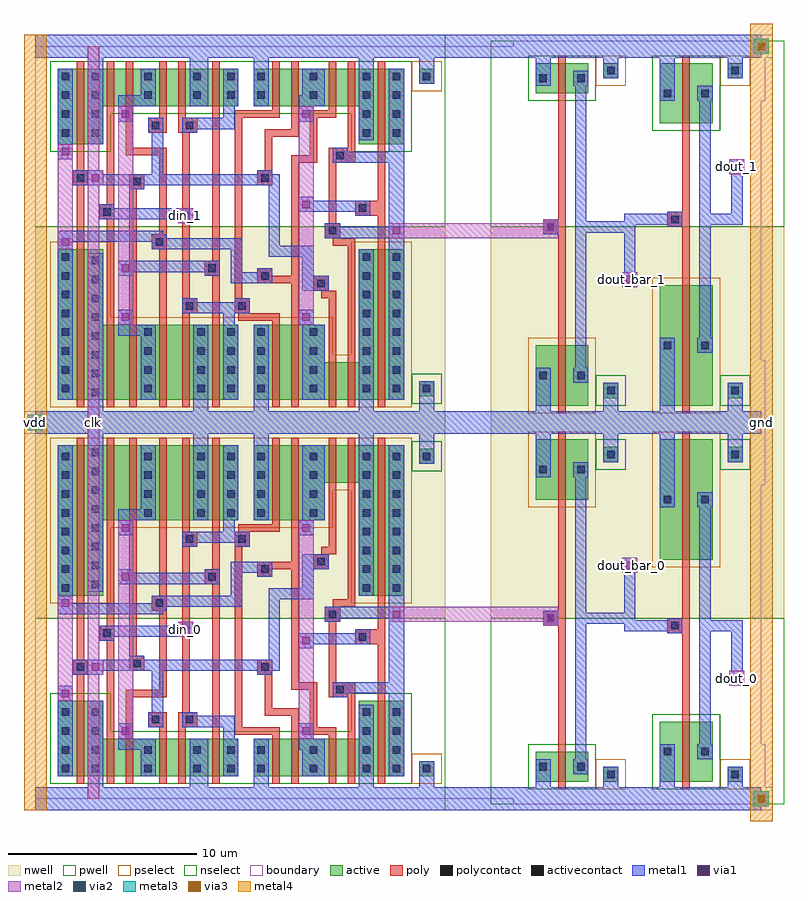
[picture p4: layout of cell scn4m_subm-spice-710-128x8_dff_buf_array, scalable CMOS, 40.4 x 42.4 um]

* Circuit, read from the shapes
.subckt scn4m_subm-spice-710-128x8_dff_buf_array clk din_0 din_1 dout_0 dout_1 dout_bar_0 dout_bar_1 gnd vdd
M1 gnd clk n1 gnd nfet w=4u l=0.4u
M2 gnd clk n2 gnd nfet w=4u l=0.4u
M3 n3 din_0 gnd gnd nfet w=2u l=0.4u
M4 n4 din_1 gnd gnd nfet w=2u l=0.4u
M5 n5 n1 n3 gnd nfet w=2u l=0.4u
M6 n6 n2 n4 gnd nfet w=2u l=0.4u
M7 n7 clk n5 gnd nfet w=2u l=0.4u
M8 n8 clk n6 gnd nfet w=2u l=0.4u
M9 gnd n9 n7 gnd nfet w=2u l=0.4u
M10 gnd n10 n8 gnd nfet w=2u l=0.4u
M11 n9 n5 gnd gnd nfet w=2u l=0.4u
M12 n10 n6 gnd gnd nfet w=2u l=0.4u
M13 n11 n9 gnd gnd nfet w=2u l=0.4u
M14 n12 n10 gnd gnd nfet w=2u l=0.4u
M15 n13 clk n11 gnd nfet w=2u l=0.4u
M16 n14 clk n12 gnd nfet w=2u l=0.4u
M17 n15 n1 n13 gnd nfet w=2u l=0.4u
M18 n16 n2 n14 gnd nfet w=2u l=0.4u
M19 gnd scn4m_subm-spice-710-128x8_dff_buf_0_0/scn4m_subm-spice-710-128x8_pinv_3_1/A n15 gnd nfet w=2u l=0.4u
M20 gnd scn4m_subm-spice-710-128x8_dff_buf_0_1/scn4m_subm-spice-710-128x8_pinv_3_1/A n16 gnd nfet w=2u l=0.4u
M21 scn4m_subm-spice-710-128x8_dff_buf_0_0/scn4m_subm-spice-710-128x8_pinv_3_1/A n13 gnd gnd nfet w=4u l=0.4u
M22 scn4m_subm-spice-710-128x8_dff_buf_0_1/scn4m_subm-spice-710-128x8_pinv_3_1/A n14 gnd gnd nfet w=4u l=0.4u
M23 dout_bar_0 scn4m_subm-spice-710-128x8_dff_buf_0_0/scn4m_subm-spice-710-128x8_pinv_3_1/A gnd gnd nfet w=1.6u l=0.4u
M24 dout_bar_1 scn4m_subm-spice-710-128x8_dff_buf_0_1/scn4m_subm-spice-710-128x8_pinv_3_1/A gnd gnd nfet w=1.6u l=0.4u
M25 dout_0 dout_bar_0 gnd gnd nfet w=3.2u l=0.4u
M26 dout_1 dout_bar_1 gnd gnd nfet w=3.2u l=0.4u
M27 vdd clk n1 vdd pfet w=8u l=0.4u
M28 vdd clk n2 vdd pfet w=8u l=0.4u
M29 n17 din_0 vdd vdd pfet w=4u l=0.4u
M30 n18 din_1 vdd vdd pfet w=4u l=0.4u
M31 n5 clk n17 vdd pfet w=4u l=0.4u
M32 n6 clk n18 vdd pfet w=4u l=0.4u
M33 n19 n1 n5 vdd pfet w=4u l=0.4u
M34 n20 n2 n6 vdd pfet w=4u l=0.4u
M35 vdd n9 n19 vdd pfet w=4u l=0.4u
M36 vdd n10 n20 vdd pfet w=4u l=0.4u
M37 n9 n5 vdd vdd pfet w=4u l=0.4u
M38 n10 n6 vdd vdd pfet w=4u l=0.4u
M39 n21 n9 vdd vdd pfet w=4u l=0.4u
M40 n22 n10 vdd vdd pfet w=4u l=0.4u
M41 n13 n1 n21 vdd pfet w=4u l=0.4u
M42 n14 n2 n22 vdd pfet w=4u l=0.4u
M43 n23 clk n13 vdd pfet w=2u l=0.4u
M44 n24 clk n14 vdd pfet w=2u l=0.4u
M45 vdd scn4m_subm-spice-710-128x8_dff_buf_0_0/scn4m_subm-spice-710-128x8_pinv_3_1/A n23 vdd pfet w=2u l=0.4u
M46 vdd scn4m_subm-spice-710-128x8_dff_buf_0_1/scn4m_subm-spice-710-128x8_pinv_3_1/A n24 vdd pfet w=2u l=0.4u
M47 scn4m_subm-spice-710-128x8_dff_buf_0_0/scn4m_subm-spice-710-128x8_pinv_3_1/A n13 vdd vdd pfet w=8u l=0.4u
M48 scn4m_subm-spice-710-128x8_dff_buf_0_1/scn4m_subm-spice-710-128x8_pinv_3_1/A n14 vdd vdd pfet w=8u l=0.4u
M49 dout_bar_0 scn4m_subm-spice-710-128x8_dff_buf_0_0/scn4m_subm-spice-710-128x8_pinv_3_1/A vdd vdd pfet w=3.2u l=0.4u
M50 dout_bar_1 scn4m_subm-spice-710-128x8_dff_buf_0_1/scn4m_subm-spice-710-128x8_pinv_3_1/A vdd vdd pfet w=3.2u l=0.4u
M51 dout_0 dout_bar_0 vdd vdd pfet w=6.4u l=0.4u
M52 dout_1 dout_bar_1 vdd vdd pfet w=6.4u l=0.4u
.ends

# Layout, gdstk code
import gdstk
lib = gdstk.Library(unit=1e-6, precision=1e-09)
def R(c, l, rs):  # rectangles x0, y0, x1, y1
    for r in rs: c.add(gdstk.rectangle(r[:2], r[2:], *l))
def A(c, l, x, y, w, h, nx, ny, dx, dy):  # array of equal rectangles
    R(c, l, [(x+i*dx, y+j*dy, x+i*dx+w, y+j*dy+h) for i in range(nx) for j in range(ny)])
via3 = (30, 0)
metal4 = (31, 0)
pwell = (41, 0)
nwell = (42, 0)
active = (43, 0)
pselect = (44, 0)
nselect = (45, 0)
poly = (46, 0)
polycontact = (47, 0)
activecontact = (48, 0)
metal1 = (49, 0)
via1 = (50, 0)
metal2 = (51, 0)
via2 = (61, 0)
metal3 = (62, 0)
boundary = (63, 0)

dff = lib.new_cell('dff')
R(dff, pwell, [(0,-0.6,21.8,9.6)])
R(dff, nwell, [(0,9.6,21.8,20.6)])
R(dff, active, [(1.2,1.2,10.8,3.2), (11.6,1.2,19.6,3.2), (20.4,1.2,21.2,2), (1.2,3.2,3.6,5.2), (17.2,3.2,19.6,5.2), (1.2,10.8,3.6,14.8), (17.2,10.8,19.6,16.8), (1.2,14.8,10.8,18.8), (11.6,14.8,15.4,16.8), (11.6,16.8,19.6,18.8), (20.4,17.8,21.2,18.6)])
R(dff, pselect, [(20,0.8,21.6,2.4), (0.8,10.4,4,14.4), (16.8,10.4,20,16.4), (0.8,14.4,15.8,16.4), (0.8,16.4,20,19.2)])
R(dff, nselect, [(0.8,0.8,20,3.6), (0.8,3.6,4,5.6), (16.8,3.6,20,5.6), (20,17.4,21.6,19)])
R(dff, poly, [(2.2,0.8,2.6,6.6), (3.8,0.8,4.2,8.4), (4.8,0.8,5.2,5.4), (6.6,0.8,7,3.8), (7.6,0.8,8,3.8), (9.4,0.8,9.8,11.4), (12.6,0.8,13,3.4), (13.6,0.8,14,4.4), (15.6,0.8,16,3.4), (16.6,0.8,17,5.4), (18.2,0.8,18.6,8.2), (10.6,3.4,13,3.8), (14.6,3.4,16,3.8), (6,3.8,7,4.6), (7.6,3.8,8.6,4.6), (10.6,3.8,11,13.4), (14.6,3.8,15,5.8), (12.2,4.4,14,4.8), (7.8,4.6,8.2,13.4), (12.2,4.8,12.6,6.6), (4.8,5.4,7,5.8), (15.6,5.4,17,6.2), (6.6,5.8,7,10), (13.6,5.8,15,6.2), (13.6,6.2,14,12.2), (15.6,6.2,16,9.4), (2,6.6,2.8,7.4), (11.8,6.6,12.6,7.4), (5,6.8,5.8,7.6), (2.2,7.4,2.6,19.2), (5,7.6,5.4,19.2), (17,8.2,18.6,9), (3.4,8.4,4.2,9.2), (18.2,9,18.6,19.2), (3.8,9.2,4.2,19.2), (15.4,9.4,16.2,10.2), (6.2,10,7,10.8), (15.8,10.2,17,10.6), (16.6,10.6,17,19.2), (6.6,10.8,7,19.2), (9,11.4,9.8,12.2), (11.8,11.8,12.6,12.2), (9.4,12.2,9.8,19.2), (11.8,12.2,14,12.6), (14.8,12.2,15.6,13), (13.6,12.6,14,19.2), (15.2,13,16,13.4), (7.8,13.4,8.6,14.2), (10.6,13.4,11.4,14.2), (15.6,13.4,16,19.2), (7.8,14.2,8.2,19.2), (10.8,14.2,13,14.6), (12.6,14.6,13,19.2)])
R(dff, polycontact, [(6.2,4,6.6,4.4), (8,4,8.4,4.4), (16,5.6,16.4,6), (2.2,6.8,2.6,7.2), (12,6.8,12.4,7.2), (5.2,7,5.6,7.4), (17.2,8.4,17.6,8.8), (3.6,8.6,4,9), (15.6,9.6,16,10), (6.4,10.2,6.8,10.6), (9.2,11.6,9.6,12), (12,12,12.4,12.4), (15,12.4,15.4,12.8), (8,13.6,8.4,14), (10.8,13.6,11.2,14)])
A(dff, activecontact, 1.4, 1.4, 0.4, 0.4, 1, 4, 0, 1)
A(dff, activecontact, 3, 1.4, 0.4, 0.4, 1, 4, 0, 1)
A(dff, activecontact, 11.8, 1.4, 0.4, 0.4, 3, 2, 2.8, 1)
A(dff, activecontact, 19, 1.4, 0.4, 0.4, 1, 4, 0, 1)
A(dff, activecontact, 1.4, 11, 0.4, 0.4, 1, 8, 0, 1)
A(dff, activecontact, 17.4, 11, 0.4, 0.4, 1, 7, 0, 1)
A(dff, activecontact, 19, 11, 0.4, 0.4, 1, 7, 0, 1)
A(dff, activecontact, 3, 11.2, 0.4, 0.4, 1, 8, 0, 1)
A(dff, activecontact, 5.8, 15, 0.4, 0.4, 1, 4, 0, 1)
A(dff, activecontact, 8.6, 15, 0.4, 0.4, 3, 4, 1.6, 1)
A(dff, activecontact, 14.6, 15, 0.4, 0.4, 1, 4, 0, 1)
A(dff, activecontact, 17.4, 18, 0.4, 0.4, 3, 1, 1.6, 0)
R(dff, activecontact, [(5.8,1.4,6.2,1.8), (8.4,1.4,8.8,1.8), (10.2,1.4,10.6,1.8), (20.6,1.4,21,1.8), (5.8,2.4,6.2,2.8), (8.4,2.4,8.8,2.8), (10.2,2.4,10.6,2.8), (17.4,3.4,17.8,3.8), (17.4,4.4,17.8,4.8)])
R(dff, metal1, [(0,-0.6,21.8,0.6), (0,-0.6,21.8,0.6), (2.8,0.6,3.6,5.2), (8.2,0.6,9.2,3.2), (11.6,0.6,12.4,3.2), (17.2,0.6,18,5), (20.4,0.6,21.2,2), (1.2,1.2,2,6), (5.6,1.2,6.4,2.6), (10,1.2,10.8,3.2), (14.2,1.2,15.4,2.6), (18.8,1.2,19.6,5.6), (4.4,2.6,6.4,3.2), (14,2.6,15.4,3.2), (4.4,3.2,5.2,4), (10,3.2,10.6,3.8), (14,3.2,14.8,4), (6,3.8,6.8,4.6), (7.8,3.8,10.6,4.4), (7.8,4.4,8.6,4.6), (6.2,4.6,6.8,6.8), (15.8,5.4,16.6,5.6), (15.8,5.6,19.6,6.2), (18.8,6.2,19.6,9.6), (2,6.6,3.6,6.8), (11.8,6.6,12.6,6.8), (2,6.8,13,7.4), (5,7.4,5.8,7.6), (12.4,7.4,13,10.6), (14,8,14.8,8.2), (14,8.2,17.8,8.8), (3.4,8.4,4.2,8.6), (3.4,8.6,8.4,9.2), (17,8.8,17.8,9), (7.6,9.2,8.4,9.4), (15.4,9.4,16.2,9.6), (15.4,9.6,19.6,10.2), (1.2,9.8,6.8,10), (1.2,10,7,10.2), (1.2,10.2,11,10.4), (18.8,10.2,19.6,18.8), (1.2,10.4,2,18.8), (6.2,10.4,11,10.8), (12.4,10.6,14.8,11.2), (10.4,10.8,11,12), (17.2,10.8,18,19.4), (2.8,11,3.6,19.4), (14.2,11.2,14.8,12.2), (4.4,11.4,9.8,12), (11.8,11.8,12.6,12), (4.4,12,5.2,12.2), (9,12,9.8,12.2), (10.4,12,12.6,12.6), (14.2,12.2,15.6,13), (7.8,13.4,8.6,13.6), (10.6,13.4,11.4,13.6), (7.8,13.6,11.4,14.2), (4.4,14,5.2,14.8), (14,14,14.8,14.8), (10,14.2,10.6,14.8), (4.4,14.8,6.4,15.4), (8.4,14.8,9.2,19.4), (10,14.8,10.8,18.8), (11.6,14.8,12.4,19.4), (14.2,14.8,15.4,18.8), (5.6,15.4,6.4,18.8), (20.4,17.8,21.2,19.4), (0,19.4,21.8,20.6), (0,19.4,21.8,20.6)])
R(dff, via1, [(4.6,3.4,5,3.8), (14.2,3.4,14.6,3.8), (1.4,5.4,1.8,5.8), (3,6.8,3.4,7.2), (14.2,8.2,14.6,8.6), (7.8,8.8,8.2,9.2), (19,9.6,19.4,10), (1.4,10.2,1.8,10.6), (4.6,11.6,5,12), (4.6,14.2,5,14.6), (14.2,14.2,14.6,14.6)])
R(dff, metal2, [(4.4,3.2,5.2,14.8), (14,3.2,14.8,14.8), (1.2,5.2,2,10.8), (2.8,6.6,3.6,7.4), (2.8,6.6,3.6,7.4), (7.6,8.6,8.4,9.4), (7.6,8.6,8.4,9.4), (18.8,9.4,19.6,10.2), (18.8,9.4,19.6,10.2)])
R(dff, boundary, [(0,0,21.8,20)])
dff.add(gdstk.Label('clk', (3,6.8), layer=51, texttype=0))
dff.add(gdstk.Label('D', (8,9), layer=51, texttype=0))
dff.add(gdstk.Label('Q', (19.2,9.8), layer=51, texttype=0))
dff.add(gdstk.Label('vdd', (6.4,19.6), layer=49, texttype=0))
dff.add(gdstk.Label('gnd', (8.8,0.2), layer=49, texttype=0))
dff.add(gdstk.Label('D', (8,9), layer=51, texttype=0))
dff.add(gdstk.Label('Q', (19.2,9.8), layer=51, texttype=0))
dff.add(gdstk.Label('clk', (3.2,7), layer=51, texttype=0))
dff.add(gdstk.Label('vdd', (10.9,20), layer=49, texttype=0))
dff.add(gdstk.Label('gnd', (10.9,0), layer=49, texttype=0))

scn4m_subm_spice_710_128 = lib.new_cell('scn4m_subm-spice-710-128x8_contact_12')
R(scn4m_subm_spice_710_128, nwell, [(-1.2,-1.2,2,2)])
R(scn4m_subm_spice_710_128, active, [(0,0,0.8,0.8)])
R(scn4m_subm_spice_710_128, pselect, [(-0.4,-0.4,1.2,1.2)])
R(scn4m_subm_spice_710_128, activecontact, [(0.2,0.2,0.6,0.6)])
R(scn4m_subm_spice_710_128, metal1, [(0,0,0.8,0.8)])
R(scn4m_subm_spice_710_128, boundary, [(-1.2,-1.2,2,2)])

c_scn4m_subm_spice_710_128 = lib.new_cell('scn4m_subm-spice-710-128x8_pmos_m1_w3_200_sm1_dm1_da_p')
R(c_scn4m_subm_spice_710_128, nwell, [(-1.2,-1.2,4,4.4)])
R(c_scn4m_subm_spice_710_128, active, [(0,0,2.8,3.2)])
R(c_scn4m_subm_spice_710_128, pselect, [(-0.4,-0.4,3.2,3.6)])
R(c_scn4m_subm_spice_710_128, poly, [(1.2,-0.4,1.6,3.6), (1.2,-0.4,1.6,3.6)])
R(c_scn4m_subm_spice_710_128, metal1, [(0,1.2,0.8,2), (2,1.2,2.8,2)])
R(c_scn4m_subm_spice_710_128, boundary, [(-1.2,-1.2,4,4.4)])
c_scn4m_subm_spice_710_128.add(gdstk.Reference(scn4m_subm_spice_710_128, (0,1.2)))
c_scn4m_subm_spice_710_128.add(gdstk.Reference(scn4m_subm_spice_710_128, (2,1.2)))
c_scn4m_subm_spice_710_128.add(gdstk.Label('G', (1.4,1.6), layer=46, texttype=0))
c_scn4m_subm_spice_710_128.add(gdstk.Label('S', (0.4,1.6), layer=49, texttype=0))
c_scn4m_subm_spice_710_128.add(gdstk.Label('D', (2.4,1.6), layer=49, texttype=0))

c_scn4m_subm_spice_710_128_ = lib.new_cell('scn4m_subm-spice-710-128x8_contact_11')
R(c_scn4m_subm_spice_710_128_, pwell, [(-1.2,-1.2,2,2)])
R(c_scn4m_subm_spice_710_128_, active, [(0,0,0.8,0.8)])
R(c_scn4m_subm_spice_710_128_, nselect, [(-0.4,-0.4,1.2,1.2)])
R(c_scn4m_subm_spice_710_128_, activecontact, [(0.2,0.2,0.6,0.6)])
R(c_scn4m_subm_spice_710_128_, metal1, [(0,0,0.8,0.8)])
R(c_scn4m_subm_spice_710_128_, boundary, [(-1.2,-1.2,2,2)])

c_scn4m_subm_spice_710_128__ = lib.new_cell('scn4m_subm-spice-710-128x8_nmos_m1_w1_600_sm1_dm1_da_p')
R(c_scn4m_subm_spice_710_128__, pwell, [(-1.2,-1.2,4,2.8)])
R(c_scn4m_subm_spice_710_128__, active, [(0,0,2.8,1.6)])
R(c_scn4m_subm_spice_710_128__, nselect, [(-0.4,-0.4,3.2,2)])
R(c_scn4m_subm_spice_710_128__, poly, [(1.2,-0.4,1.6,2), (1.2,-0.4,1.6,2)])
R(c_scn4m_subm_spice_710_128__, metal1, [(0,0.4,0.8,1.2), (2,0.4,2.8,1.2)])
R(c_scn4m_subm_spice_710_128__, boundary, [(-1.2,-1.2,4,2.8)])
c_scn4m_subm_spice_710_128__.add(gdstk.Reference(c_scn4m_subm_spice_710_128_, (0,0.4)))
c_scn4m_subm_spice_710_128__.add(gdstk.Reference(c_scn4m_subm_spice_710_128_, (2,0.4)))
c_scn4m_subm_spice_710_128__.add(gdstk.Label('G', (1.4,0.8), layer=46, texttype=0))
c_scn4m_subm_spice_710_128__.add(gdstk.Label('S', (0.4,0.8), layer=49, texttype=0))
c_scn4m_subm_spice_710_128__.add(gdstk.Label('D', (2.4,0.8), layer=49, texttype=0))

c_scn4m_subm_spice_710_128___ = lib.new_cell('scn4m_subm-spice-710-128x8_contact_13')
R(c_scn4m_subm_spice_710_128___, nwell, [(-1.2,-1.2,2,2)])
R(c_scn4m_subm_spice_710_128___, active, [(0,0,0.8,0.8)])
R(c_scn4m_subm_spice_710_128___, nselect, [(-0.4,-0.4,1.2,1.2)])
R(c_scn4m_subm_spice_710_128___, activecontact, [(0.2,0.2,0.6,0.6)])
R(c_scn4m_subm_spice_710_128___, metal1, [(0,0,0.8,0.8)])
R(c_scn4m_subm_spice_710_128___, boundary, [(-1.2,-1.2,2,2)])

c_scn4m_subm_spice_710_128____ = lib.new_cell('scn4m_subm-spice-710-128x8_contact_14')
R(c_scn4m_subm_spice_710_128____, pwell, [(-1.2,-1.2,2,2)])
R(c_scn4m_subm_spice_710_128____, active, [(0,0,0.8,0.8)])
R(c_scn4m_subm_spice_710_128____, pselect, [(-0.4,-0.4,1.2,1.2)])
R(c_scn4m_subm_spice_710_128____, activecontact, [(0.2,0.2,0.6,0.6)])
R(c_scn4m_subm_spice_710_128____, metal1, [(0,0,0.8,0.8)])
R(c_scn4m_subm_spice_710_128____, boundary, [(-1.2,-1.2,2,2)])

c_scn4m_subm_spice_710_128_____ = lib.new_cell('scn4m_subm-spice-710-128x8_contact_15')
R(c_scn4m_subm_spice_710_128_____, poly, [(0,0,0.8,0.8)])
R(c_scn4m_subm_spice_710_128_____, polycontact, [(0.2,0.2,0.6,0.6)])
R(c_scn4m_subm_spice_710_128_____, metal1, [(0,0,0.8,0.8)])
R(c_scn4m_subm_spice_710_128_____, boundary, [(0,0,0.8,0.8)])

c_scn4m_subm_spice_710_128______ = lib.new_cell('scn4m_subm-spice-710-128x8_pinv_3')
R(c_scn4m_subm_spice_710_128______, pwell, [(-1.2,-0.3,7.8,9.6)])
R(c_scn4m_subm_spice_710_128______, nwell, [(-1.2,9.6,7.8,21.5)])
R(c_scn4m_subm_spice_710_128______, poly, [(2.4,2.9,2.8,15.5), (2,9.2,2.4,10)])
R(c_scn4m_subm_spice_710_128______, metal1, [(0,-0.3,6.6,0.3), (1.2,-0.3,2,1.3), (4.8,0,5.6,1.3), (3.3,1.3,3.9,17.9), (1.6,9.2,2.4,10), (3.6,9.3,4.2,9.9), (1.2,17.1,2,20.3), (4.8,18.3,5.6,20), (0,19.7,6.6,20.3)])
R(c_scn4m_subm_spice_710_128______, boundary, [(0,0,6.6,20), (0,0,6.6,20)])
c_scn4m_subm_spice_710_128______.add(gdstk.Reference(c_scn4m_subm_spice_710_128, (1.2,15.9)))
c_scn4m_subm_spice_710_128______.add(gdstk.Reference(c_scn4m_subm_spice_710_128__, (1.2,0.9)))
c_scn4m_subm_spice_710_128______.add(gdstk.Reference(c_scn4m_subm_spice_710_128___, (4.8,17.9)))
c_scn4m_subm_spice_710_128______.add(gdstk.Reference(c_scn4m_subm_spice_710_128____, (4.8,0.9)))
c_scn4m_subm_spice_710_128______.add(gdstk.Reference(c_scn4m_subm_spice_710_128_____, (1.6,9.2)))
c_scn4m_subm_spice_710_128______.add(gdstk.Label('A', (2,9.6), layer=49, texttype=0))
c_scn4m_subm_spice_710_128______.add(gdstk.Label('Z', (3.9,9.6), layer=49, texttype=0))
c_scn4m_subm_spice_710_128______.add(gdstk.Label('gnd', (3.3,0), layer=49, texttype=0))
c_scn4m_subm_spice_710_128______.add(gdstk.Label('vdd', (3.3,20), layer=49, texttype=0))

c_scn4m_subm_spice_710_128_______ = lib.new_cell('scn4m_subm-spice-710-128x8_pmos_m1_w6_400_sm1_dm1_da_p')
R(c_scn4m_subm_spice_710_128_______, nwell, [(-1.2,-1.2,4,7.6)])
R(c_scn4m_subm_spice_710_128_______, active, [(0,0,2.8,6.4)])
R(c_scn4m_subm_spice_710_128_______, pselect, [(-0.4,-0.4,3.2,6.8)])
R(c_scn4m_subm_spice_710_128_______, poly, [(1.2,-0.4,1.6,6.8), (1.2,-0.4,1.6,6.8)])
R(c_scn4m_subm_spice_710_128_______, metal1, [(0,2.8,0.8,3.6), (2,2.8,2.8,3.6)])
R(c_scn4m_subm_spice_710_128_______, boundary, [(-1.2,-1.2,4,7.6)])
c_scn4m_subm_spice_710_128_______.add(gdstk.Reference(scn4m_subm_spice_710_128, (0,2.8)))
c_scn4m_subm_spice_710_128_______.add(gdstk.Reference(scn4m_subm_spice_710_128, (2,2.8)))
c_scn4m_subm_spice_710_128_______.add(gdstk.Label('G', (1.4,3.2), layer=46, texttype=0))
c_scn4m_subm_spice_710_128_______.add(gdstk.Label('S', (0.4,3.2), layer=49, texttype=0))
c_scn4m_subm_spice_710_128_______.add(gdstk.Label('D', (2.4,3.2), layer=49, texttype=0))

c_scn4m_subm_spice_710_128________ = lib.new_cell('scn4m_subm-spice-710-128x8_nmos_m1_w3_200_sm1_dm1_da_p')
R(c_scn4m_subm_spice_710_128________, pwell, [(-1.2,-1.2,4,4.4)])
R(c_scn4m_subm_spice_710_128________, active, [(0,0,2.8,3.2)])
R(c_scn4m_subm_spice_710_128________, nselect, [(-0.4,-0.4,3.2,3.6)])
R(c_scn4m_subm_spice_710_128________, poly, [(1.2,-0.4,1.6,3.6), (1.2,-0.4,1.6,3.6)])
R(c_scn4m_subm_spice_710_128________, metal1, [(0,1.2,0.8,2), (2,1.2,2.8,2)])
R(c_scn4m_subm_spice_710_128________, boundary, [(-1.2,-1.2,4,4.4)])
c_scn4m_subm_spice_710_128________.add(gdstk.Reference(c_scn4m_subm_spice_710_128_, (0,1.2)))
c_scn4m_subm_spice_710_128________.add(gdstk.Reference(c_scn4m_subm_spice_710_128_, (2,1.2)))
c_scn4m_subm_spice_710_128________.add(gdstk.Label('G', (1.4,1.6), layer=46, texttype=0))
c_scn4m_subm_spice_710_128________.add(gdstk.Label('S', (0.4,1.6), layer=49, texttype=0))
c_scn4m_subm_spice_710_128________.add(gdstk.Label('D', (2.4,1.6), layer=49, texttype=0))

c_scn4m_subm_spice_710_128_________ = lib.new_cell('scn4m_subm-spice-710-128x8_pinv_4')
R(c_scn4m_subm_spice_710_128_________, pwell, [(-1.2,-0.3,7.8,9.6)])
R(c_scn4m_subm_spice_710_128_________, nwell, [(-1.2,9.6,7.8,21.5)])
R(c_scn4m_subm_spice_710_128_________, poly, [(2.4,4.5,2.8,12.3), (2,8.8,2.4,9.6)])
R(c_scn4m_subm_spice_710_128_________, metal1, [(0,-0.3,6.6,0.3), (1.2,-0.3,2,2.1), (4.8,0,5.6,1.3), (3.3,2.1,3.9,16.3), (1.6,8.8,2.4,9.6), (3.6,8.9,4.2,9.5), (1.2,15.5,2,20.3), (4.8,18.3,5.6,20), (0,19.7,6.6,20.3)])
R(c_scn4m_subm_spice_710_128_________, boundary, [(0,0,6.6,20), (0,0,6.6,20)])
c_scn4m_subm_spice_710_128_________.add(gdstk.Reference(c_scn4m_subm_spice_710_128_______, (1.2,12.7)))
c_scn4m_subm_spice_710_128_________.add(gdstk.Reference(c_scn4m_subm_spice_710_128________, (1.2,0.9)))
c_scn4m_subm_spice_710_128_________.add(gdstk.Reference(c_scn4m_subm_spice_710_128___, (4.8,17.9)))
c_scn4m_subm_spice_710_128_________.add(gdstk.Reference(c_scn4m_subm_spice_710_128____, (4.8,0.9)))
c_scn4m_subm_spice_710_128_________.add(gdstk.Reference(c_scn4m_subm_spice_710_128_____, (1.6,8.8)))
c_scn4m_subm_spice_710_128_________.add(gdstk.Label('A', (2,9.2), layer=49, texttype=0))
c_scn4m_subm_spice_710_128_________.add(gdstk.Label('Z', (3.9,9.2), layer=49, texttype=0))
c_scn4m_subm_spice_710_128_________.add(gdstk.Label('gnd', (3.3,0), layer=49, texttype=0))
c_scn4m_subm_spice_710_128_________.add(gdstk.Label('vdd', (3.3,20), layer=49, texttype=0))

c_scn4m_subm_spice_710_128__________ = lib.new_cell('scn4m_subm-spice-710-128x8_contact_18')
R(c_scn4m_subm_spice_710_128__________, metal1, [(0,0,0.8,0.8)])
R(c_scn4m_subm_spice_710_128__________, via1, [(0.2,0.2,0.6,0.6)])
R(c_scn4m_subm_spice_710_128__________, metal2, [(0,0,0.8,0.8)])
R(c_scn4m_subm_spice_710_128__________, boundary, [(0,0,0.8,0.8)])

c_scn4m_subm_spice_710_128___________ = lib.new_cell('scn4m_subm-spice-710-128x8_dff_buf_0')
R(c_scn4m_subm_spice_710_128___________, metal1, [(0,-0.6,38.6,0.6), (37,6.4,37.6,9.2), (31.3,8.9,31.9,9.5), (31.6,8.9,34,9.5), (35.9,8.9,37.3,9.5), (37,8.9,37.6,9.5), (31.3,9.2,31.9,9.6), (29.3,9.3,31.6,9.9), (31.3,9.3,31.9,9.9), (31.3,9.6,31.9,12.4), (0,19.4,38.6,20.6)])
R(c_scn4m_subm_spice_710_128___________, metal2, [(37,6.1,37.6,6.7), (2.8,6.6,3.6,7.4), (7.6,8.6,8.4,9.4), (19.2,9.4,27.4,10.2), (27,9.4,27.8,10.2), (27,9.6,27.8,9.8), (31.4,12.1,32,12.7)])
R(c_scn4m_subm_spice_710_128___________, boundary, [(0,0,38.6,20)])
c_scn4m_subm_spice_710_128___________.add(gdstk.Reference(dff, (0,0)))
c_scn4m_subm_spice_710_128___________.add(gdstk.Reference(c_scn4m_subm_spice_710_128______, (25.4,0)))
c_scn4m_subm_spice_710_128___________.add(gdstk.Reference(c_scn4m_subm_spice_710_128_________, (32,0)))
c_scn4m_subm_spice_710_128___________.add(gdstk.Reference(c_scn4m_subm_spice_710_128__________, (27,9.2)))
c_scn4m_subm_spice_710_128___________.add(gdstk.Reference(c_scn4m_subm_spice_710_128__________, (36.9,6)))
c_scn4m_subm_spice_710_128___________.add(gdstk.Reference(c_scn4m_subm_spice_710_128__________, (31.2,12)))
c_scn4m_subm_spice_710_128___________.add(gdstk.Label('vdd', (19.3,20), layer=49, texttype=0))
c_scn4m_subm_spice_710_128___________.add(gdstk.Label('gnd', (19.3,0), layer=49, texttype=0))
c_scn4m_subm_spice_710_128___________.add(gdstk.Label('clk', (3.2,7), layer=51, texttype=0))
c_scn4m_subm_spice_710_128___________.add(gdstk.Label('D', (8,9), layer=51, texttype=0))
c_scn4m_subm_spice_710_128___________.add(gdstk.Label('Q', (37.3,6.4), layer=51, texttype=0))
c_scn4m_subm_spice_710_128___________.add(gdstk.Label('Qb', (31.7,12.4), layer=51, texttype=0))

c_scn4m_subm_spice_710_128____________ = lib.new_cell('scn4m_subm-spice-710-128x8_contact_19')
R(c_scn4m_subm_spice_710_128____________, metal2, [(0,0,0.8,0.8)])
R(c_scn4m_subm_spice_710_128____________, via2, [(0.2,0.2,0.6,0.6)])
R(c_scn4m_subm_spice_710_128____________, metal3, [(0,0,0.8,0.8)])
R(c_scn4m_subm_spice_710_128____________, boundary, [(0,0,0.8,0.8)])

c_scn4m_subm_spice_710_128_____________ = lib.new_cell('scn4m_subm-spice-710-128x8_contact_22')
R(c_scn4m_subm_spice_710_128_____________, via3, [(0.4,0.4,0.8,0.8)])
R(c_scn4m_subm_spice_710_128_____________, metal4, [(0,0,1.2,1.2)])
R(c_scn4m_subm_spice_710_128_____________, metal3, [(0.2,0.2,1,1)])
R(c_scn4m_subm_spice_710_128_____________, boundary, [(0,0,1.2,1.2)])

c_scn4m_subm_spice_710_128______________ = lib.new_cell('scn4m_subm-spice-710-128x8_dff_buf_array')
R(c_scn4m_subm_spice_710_128______________, metal4, [(38,-1.2,39.2,41.2), (-0.6,-0.6,0.6,40.6)])
R(c_scn4m_subm_spice_710_128______________, metal1, [(0,-0.6,38.6,0.6), (0,19.4,38.6,20.6), (0,19.4,38.6,20.6), (0,39.4,38.6,40.6)])
R(c_scn4m_subm_spice_710_128______________, metal2, [(2.8,0,3.4,40), (37,6.1,37.6,6.7), (7.6,8.6,8.4,9.4), (31.4,12.1,32,12.7), (31.4,27.3,32,27.9), (7.6,30.6,8.4,31.4), (37,33.3,37.6,33.9)])
R(c_scn4m_subm_spice_710_128______________, boundary, [(0,0,38.6,40)])
c_scn4m_subm_spice_710_128______________.add(gdstk.Reference(c_scn4m_subm_spice_710_128___________, (0,0)))
c_scn4m_subm_spice_710_128______________.add(gdstk.Reference(c_scn4m_subm_spice_710_128___________, (0,40), x_reflection=True))
c_scn4m_subm_spice_710_128______________.add(gdstk.Reference(c_scn4m_subm_spice_710_128__________, (-0.4,19.6)))
c_scn4m_subm_spice_710_128______________.add(gdstk.Reference(c_scn4m_subm_spice_710_128____________, (-0.4,19.6)))
c_scn4m_subm_spice_710_128______________.add(gdstk.Reference(c_scn4m_subm_spice_710_128_____________, (-0.6,19.4)))
c_scn4m_subm_spice_710_128______________.add(gdstk.Reference(c_scn4m_subm_spice_710_128__________, (-0.4,19.6)))
c_scn4m_subm_spice_710_128______________.add(gdstk.Reference(c_scn4m_subm_spice_710_128____________, (-0.4,19.6)))
c_scn4m_subm_spice_710_128______________.add(gdstk.Reference(c_scn4m_subm_spice_710_128_____________, (-0.6,19.4)))
c_scn4m_subm_spice_710_128______________.add(gdstk.Reference(c_scn4m_subm_spice_710_128__________, (38.2,-0.4)))
c_scn4m_subm_spice_710_128______________.add(gdstk.Reference(c_scn4m_subm_spice_710_128____________, (38.2,-0.4)))
c_scn4m_subm_spice_710_128______________.add(gdstk.Reference(c_scn4m_subm_spice_710_128_____________, (38,-0.6)))
c_scn4m_subm_spice_710_128______________.add(gdstk.Reference(c_scn4m_subm_spice_710_128__________, (38.2,39.6)))
c_scn4m_subm_spice_710_128______________.add(gdstk.Reference(c_scn4m_subm_spice_710_128____________, (38.2,39.6)))
c_scn4m_subm_spice_710_128______________.add(gdstk.Reference(c_scn4m_subm_spice_710_128_____________, (38,39.4)))
c_scn4m_subm_spice_710_128______________.add(gdstk.Label('vdd', (0,20), layer=31, texttype=0))
c_scn4m_subm_spice_710_128______________.add(gdstk.Label('gnd', (38.6,20), layer=31, texttype=0))
c_scn4m_subm_spice_710_128______________.add(gdstk.Label('din_0', (8,9), layer=51, texttype=0))
c_scn4m_subm_spice_710_128______________.add(gdstk.Label('dout_0', (37.3,6.4), layer=51, texttype=0))
c_scn4m_subm_spice_710_128______________.add(gdstk.Label('dout_bar_0', (31.7,12.4), layer=51, texttype=0))
c_scn4m_subm_spice_710_128______________.add(gdstk.Label('din_1', (8,31), layer=51, texttype=0))
c_scn4m_subm_spice_710_128______________.add(gdstk.Label('dout_1', (37.3,33.6), layer=51, texttype=0))
c_scn4m_subm_spice_710_128______________.add(gdstk.Label('dout_bar_1', (31.7,27.6), layer=51, texttype=0))
c_scn4m_subm_spice_710_128______________.add(gdstk.Label('clk', (3.1,20), layer=51, texttype=0))

lib.write_gds('scn4m_subm-spice-710-128x8_dff_buf_array.gds')
